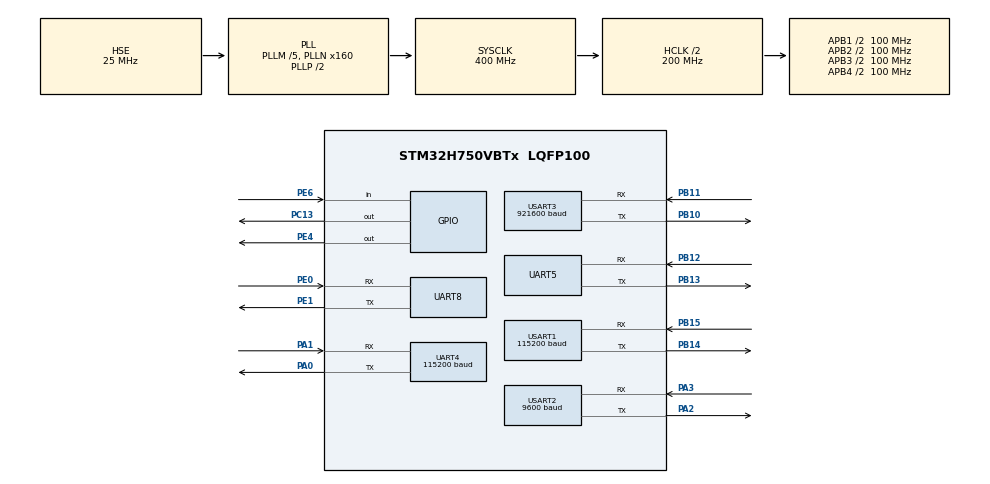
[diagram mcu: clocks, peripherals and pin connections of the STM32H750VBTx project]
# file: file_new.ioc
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Dma.USART2_TX.7.MemInc=DMA_MINC_ENABLE
Dma.UART5_TX.10.FIFOMode=DMA_FIFOMODE_DISABLE
Dma.USART1_TX.1.Polarity=HAL_DMAMUX_REQ_GEN_RISING
Dma.USART2_TX.7.Priority=DMA_PRIORITY_LOW
VP_SYS_VS_tim6.Mode=TIM6
Dma.UART5_TX.10.Priority=DMA_PRIORITY_LOW
Dma.UART5_TX.10.Direction=DMA_MEMORY_TO_PERIPH
Dma.UART5_TX.10.SignalID=NONE
Dma.USART2_TX.7.FIFOMode=DMA_FIFOMODE_DISABLE
PB10.Mode=Asynchronous
NVIC.TIM6_DAC_IRQn=true\:0\:0\:false\:false\:true\:false\:false\:true
Dma.USART2_RX.2.SignalID=NONE
NVIC.DMA1_Stream2_IRQn=true\:5\:0\:false\:false\:true\:true\:false\:true
RCC.PLLFRACN=0
Dma.USART2_TX.7.SignalID=NONE
Dma.USART2_TX.7.EventEnable=DISABLE
PB13.Signal=UART5_TX
Dma.UART5_RX.9.Instance=DMA1_Stream4
RCC.SYSCLKSource=RCC_SYSCLKSOURCE_PLLCLK
Dma.UART4_RX.3.SyncPolarity=HAL_DMAMUX_SYNC_NO_EVENT
USART3.VirtualMode-Asynchronous=VM_ASYNC
Dma.USART3_RX.8.Direction=DMA_PERIPH_TO_MEMORY
FREERTOS.configENABLE_FPU=1
PA14\ (JTCK/SWCLK).Signal=DEBUG_JTCK-SWCLK
USART3.BaudRate=921600
Dma.UART8_RX.5.EventEnable=DISABLE
PC13.GPIO_ModeDefaultOutputPP=GPIO_MODE_OUTPUT_PP
Dma.USART2_RX.2.Priority=DMA_PRIORITY_LOW
Dma.UART8_RX.5.PeriphInc=DMA_PINC_DISABLE
PE1.Signal=UART8_TX
Dma.USART3_RX.8.RequestNumber=1
RCC.DIVM3=25
RCC.DIVM1=5
Dma.UART5_RX.9.SignalID=NONE
Dma.UART8_TX.6.Mode=DMA_NORMAL
Dma.USART2_RX.2.EventEnable=DISABLE
PB14.Mode=Asynchronous
Dma.UART5_RX.9.MemDataAlignment=DMA_MDATAALIGN_BYTE
PA0.Mode=Asynchronous
Dma.USART1_RX.0.SyncEnable=DISABLE
Dma.USART3_RX.8.Mode=DMA_NORMAL
PA8.Signal=S_TIM1_CH1
PA14\ (JTCK/SWCLK).Mode=Serial_Wire
Dma.UART8_RX.5.SyncPolarity=HAL_DMAMUX_SYNC_NO_EVENT
Dma.UART5_RX.9.RequestNumber=1
VP_FREERTOS_VS_CMSIS_V1.Mode=CMSIS_V1
Dma.UART5_RX.9.FIFOMode=DMA_FIFOMODE_DISABLE
PA0.Signal=UART4_TX
Dma.UART4_TX.4.SyncEnable=DISABLE
Dma.UART5_TX.10.PeriphInc=DMA_PINC_DISABLE
Mcu.Package=LQFP100
Dma.UART5_RX.9.Priority=DMA_PRIORITY_LOW
NVIC.TimeBase=TIM6_DAC_IRQn
RCC.PLL3FRACN=0
Dma.UART4_TX.4.PeriphDataAlignment=DMA_PDATAALIGN_BYTE
Dma.UART5_TX.10.MemInc=DMA_MINC_ENABLE
NVIC.TimeBaseIP=TIM6
Dma.USART2_RX.2.Direction=DMA_PERIPH_TO_MEMORY
Dma.UART4_TX.4.Polarity=HAL_DMAMUX_REQ_GEN_RISING
Dma.USART2_TX.7.PeriphDataAlignment=DMA_PDATAALIGN_BYTE
PC14-OSC32_IN\ (OSC32_IN).Mode=LSE-External-Oscillator
NVIC.DMA2_Stream2_IRQn=true\:5\:0\:false\:false\:true\:true\:false\:true
RCC.APB4Freq_Value=100000000
Dma.UART4_TX.4.Direction=DMA_MEMORY_TO_PERIPH
Dma.UART5_TX.10.Instance=DMA2_Stream2
Dma.USART2_TX.7.SyncSignalID=NONE
Dma.UART8_TX.6.PeriphDataAlignment=DMA_PDATAALIGN_BYTE
PB13.Mode=Asynchronous
NVIC.USART1_IRQn=true\:5\:0\:false\:false\:true\:true\:true\:true
NVIC.DMA1_Stream6_IRQn=true\:5\:0\:false\:false\:true\:true\:false\:true
Dma.UART4_TX.4.MemInc=DMA_MINC_ENABLE
PH0-OSC_IN\ (PH0).Mode=HSE-External-Oscillator
PA8.GPIO_Speed=GPIO_SPEED_FREQ_HIGH
Dma.USART2_TX.7.Instance=DMA2_Stream1
Dma.UART4_RX.3.MemInc=DMA_MINC_ENABLE
NVIC.UART4_IRQn=true\:5\:0\:false\:false\:true\:true\:true\:true
Dma.USART3_RX.8.SyncEnable=DISABLE
Dma.UART8_RX.5.PeriphDataAlignment=DMA_PDATAALIGN_BYTE
NVIC.UART8_IRQn=true\:5\:0\:false\:false\:true\:true\:true\:true
FREERTOS.Tasks01=CtrlTask,0,128,CtrlTaskF,Default,NULL,Dynamic,NULL,NULL;SensorTask,0,128,SensorTaskF,Default,NULL,Dynamic,NULL,NULL;UptoBaseTask,0,128,UtBF,Default,NULL,Dynamic,NULL,NULL;BasetoUpTask,0,128,BtUF,Default,NULL,Dynamic,NULL,NULL
Dma.USART3_RX.8.EventEnable=DISABLE
Dma.Request9=UART5_RX
Dma.UART8_RX.5.SyncRequestNumber=1
Dma.UART4_RX.3.PeriphInc=DMA_PINC_DISABLE
PC13.Signal=GPIO_Output
Dma.Request10=UART5_TX
PE1.Mode=Asynchronous
Dma.UART5_RX.9.PeriphDataAlignment=DMA_PDATAALIGN_BYTE
NVIC.DMA2_Stream1_IRQn=true\:5\:0\:false\:false\:true\:true\:false\:true
Dma.UART4_TX.4.FIFOMode=DMA_FIFOMODE_DISABLE
USART2.BaudRate=9600
Dma.USART2_RX.2.Mode=DMA_NORMAL
Dma.USART1_TX.1.SyncSignalID=NONE
Dma.UART8_RX.5.FIFOMode=DMA_FIFOMODE_DISABLE
PA3.Mode=Asynchronous
Dma.UART5_RX.9.Mode=DMA_NORMAL
Dma.UART8_TX.6.SyncSignalID=NONE
PB11.Mode=Asynchronous
Dma.USART1_RX.0.SyncRequestNumber=1
Dma.USART1_RX.0.Direction=DMA_PERIPH_TO_MEMORY
Dma.UART4_TX.4.Instance=DMA1_Stream6
Dma.UART8_TX.6.MemInc=DMA_MINC_ENABLE
RCC.DIVN3=192
RCC.DIVN1=160
Dma.UART4_RX.3.Polarity=HAL_DMAMUX_REQ_GEN_RISING
Dma.UART8_TX.6.SyncEnable=DISABLE
Dma.USART1_TX.1.SyncEnable=DISABLE
Dma.USART1_RX.0.PeriphInc=DMA_PINC_DISABLE
PB10.Signal=USART3_TX
PB14.Signal=USART1_TX
Dma.USART1_TX.1.MemDataAlignment=DMA_MDATAALIGN_BYTE
Dma.USART3_RX.8.PeriphInc=DMA_PINC_DISABLE
Dma.UART8_RX.5.MemDataAlignment=DMA_MDATAALIGN_BYTE
Dma.UART4_TX.4.MemDataAlignment=DMA_MDATAALIGN_BYTE
PA1.Mode=Asynchronous
Dma.UART5_TX.10.EventEnable=DISABLE
Dma.UART4_RX.3.Instance=DMA1_Stream5
Dma.UART5_TX.10.Polarity=HAL_DMAMUX_REQ_GEN_RISING
Dma.USART2_TX.7.Direction=DMA_MEMORY_TO_PERIPH
Dma.USART1_RX.0.SyncPolarity=HAL_DMAMUX_SYNC_NO_EVENT
Dma.USART1_RX.0.SyncSignalID=NONE
Dma.UART4_TX.4.SyncRequestNumber=1
Dma.USART1_TX.1.Mode=DMA_NORMAL
Dma.USART3_RX.8.PeriphDataAlignment=DMA_PDATAALIGN_BYTE
Dma.UART5_RX.9.Polarity=HAL_DMAMUX_REQ_GEN_RISING
ProjectManager.HeapSize=0x200
FREERTOS.Mutexes01=UptoBaseDataRWFlag,Dynamic,NULL;BasetoUpDataRWFlag,Dynamic,NULL;WT931SensorDataRWFlag,Dynamic,NULL;GY39SensorDataRWFlag,Dynamic,NULL;DeepSensorDataRWFlag,Dynamic,NULL;BaseControlEnableFlag,Dynamic,NULL;P30SensorDataRWFlag,Dynamic,NULL
Dma.USART2_TX.7.MemDataAlignment=DMA_MDATAALIGN_BYTE
NVIC.PriorityGroup=NVIC_PRIORITYGROUP_4
RCC.USART234578CLockSelection=RCC_USART234578CLKSOURCE_PLL3
Dma.USART2_RX.2.SyncEnable=DISABLE
Dma.UART8_TX.6.Direction=DMA_MEMORY_TO_PERIPH
Dma.UART8_TX.6.SyncPolarity=HAL_DMAMUX_SYNC_NO_EVENT
PA13\ (JTMS/SWDIO).Signal=DEBUG_JTMS-SWDIO
Dma.UART4_TX.4.RequestNumber=1
Dma.USART2_RX.2.RequestNumber=1
Mcu.Family=STM32H7
NVIC.USART3_IRQn=true\:5\:0\:false\:false\:true\:true\:true\:true
Dma.UART4_RX.3.Priority=DMA_PRIORITY_LOW
Dma.UART4_RX.3.FIFOMode=DMA_FIFOMODE_DISABLE
Dma.USART2_RX.2.PeriphDataAlignment=DMA_PDATAALIGN_BYTE
Dma.USART3_RX.8.MemDataAlignment=DMA_MDATAALIGN_BYTE
Dma.UART4_RX.3.SyncEnable=DISABLE
RCC.CortexFreq_Value=400000000
FREERTOS.BinarySemaphores01=UptoBaseTransFinish,Dynamic,NULL;WT931TransFinish,Dynamic,NULL;GY39TransFinish,Dynamic,NULL;BasetoUpTransFinishHandle,Dynamic,NULL;DeepTransFinishHandle,Dynamic,NULL;P30TransFinish,Dynamic,NULL
Dma.UART8_TX.6.Priority=DMA_PRIORITY_LOW
Dma.UART4_RX.3.SignalID=NONE
Dma.USART1_TX.1.MemInc=DMA_MINC_ENABLE
Dma.USART1_TX.1.SyncPolarity=HAL_DMAMUX_SYNC_NO_EVENT
RCC.HPRE=RCC_HCLK_DIV2
Dma.USART1_RX.0.EventEnable=DISABLE
PH0-OSC_IN\ (PH0).Signal=RCC_OSC_IN
Dma.USART2_RX.2.SyncSignalID=NONE
USART1.BaudRate=115200
PC15-OSC32_OUT\ (OSC32_OUT).Mode=LSE-External-Oscillator
Dma.USART1_RX.0.SignalID=NONE
Dma.UART8_TX.6.MemDataAlignment=DMA_MDATAALIGN_BYTE
Dma.UART4_RX.3.PeriphDataAlignment=DMA_PDATAALIGN_BYTE
Dma.UART4_RX.3.Mode=DMA_NORMAL
RCC.PLL2FRACN=0
PB11.Signal=USART3_RX
NVIC.DMA1_Stream4_IRQn=true\:5\:0\:false\:false\:true\:true\:false\:true
PB15.Signal=USART1_RX
Dma.UART8_TX.6.RequestNumber=1
ProjectManager.StackSize=0x400
NVIC.UART5_IRQn=true\:5\:0\:false\:false\:true\:true\:true\:true
Dma.USART3_RX.8.SyncRequestNumber=1
Dma.UART4_RX.3.Direction=DMA_PERIPH_TO_MEMORY
Dma.UART5_RX.9.Direction=DMA_PERIPH_TO_MEMORY
Dma.UART4_TX.4.Mode=DMA_NORMAL
Dma.UART4_TX.4.SyncPolarity=HAL_DMAMUX_SYNC_NO_EVENT
Dma.USART2_TX.7.PeriphInc=DMA_PINC_DISABLE
UART4.BaudRate=115200
Dma.UART8_RX.5.SyncSignalID=NONE
RCC.HCLKFreq_Value=200000000
Dma.UART4_TX.4.EventEnable=DISABLE
Dma.UART8_RX.5.Instance=DMA1_Stream7
Dma.USART2_RX.2.MemDataAlignment=DMA_MDATAALIGN_BYTE
NVIC.DMA2_Stream0_IRQn=true\:5\:0\:false\:false\:true\:true\:false\:true
Dma.UART5_TX.10.SyncRequestNumber=1
Dma.UART8_RX.5.MemInc=DMA_MINC_ENABLE
Dma.UART8_TX.6.SignalID=NONE
Dma.USART1_RX.0.Priority=DMA_PRIORITY_LOW
Dma.USART3_RX.8.Instance=DMA1_Stream3
Dma.UART5_RX.9.MemInc=DMA_MINC_ENABLE
PH1-OSC_OUT\ (PH1).Mode=HSE-External-Oscillator
Dma.USART2_TX.7.SyncEnable=DISABLE
USART2.VirtualMode-Asynchronous=VM_ASYNC
VP_IWDG1_VS_IWDG.Mode=IWDG_Activate
Dma.UART8_TX.6.Instance=DMA2_Stream0
PC13.GPIO_PuPd=GPIO_PULLUP
Dma.UART5_RX.9.PeriphInc=DMA_PINC_DISABLE
Dma.UART5_RX.9.SyncPolarity=HAL_DMAMUX_SYNC_NO_EVENT
Dma.UART8_RX.5.Polarity=HAL_DMAMUX_REQ_GEN_RISING
Dma.USART1_RX.0.MemInc=DMA_MINC_ENABLE
PE4.Signal=GPIO_Output
Dma.USART3_RX.8.SignalID=NONE
Dma.USART1_TX.1.PeriphDataAlignment=DMA_PDATAALIGN_BYTE
NVIC.DMA1_Stream7_IRQn=true\:5\:0\:false\:false\:true\:true\:false\:true
Dma.UART5_TX.10.RequestNumber=1
RCC.APB3Freq_Value=100000000
Dma.USART1_TX.1.RequestNumber=1
Dma.UART5_TX.10.MemDataAlignment=DMA_MDATAALIGN_BYTE
Dma.UART5_TX.10.SyncPolarity=HAL_DMAMUX_SYNC_NO_EVENT
Dma.UART8_RX.5.RequestNumber=1
Dma.UART5_TX.10.SyncSignalID=NONE
PB12.Mode=Asynchronous
Dma.UART5_TX.10.SyncEnable=DISABLE
RCC.D1PPRE=RCC_APB3_DIV2
Dma.USART3_RX.8.MemInc=DMA_MINC_ENABLE
Dma.USART2_RX.2.Polarity=HAL_DMAMUX_REQ_GEN_RISING
Dma.UART8_TX.6.PeriphInc=DMA_PINC_DISABLE
Dma.USART1_TX.1.SignalID=NONE
Dma.USART1_RX.0.FIFOMode=DMA_FIFOMODE_DISABLE
Dma.Request2=USART2_RX
Dma.Request1=USART1_TX
Dma.Request4=UART4_TX
PC13.GPIO_Speed=GPIO_SPEED_FREQ_LOW
Dma.Request3=UART4_RX
Dma.Request6=UART8_TX
Dma.USART1_RX.0.Mode=DMA_NORMAL
Dma.Request5=UART8_RX
Dma.USART1_TX.1.Priority=DMA_PRIORITY_LOW
NVIC.DMA1_Stream0_IRQn=true\:5\:0\:false\:false\:true\:true\:false\:true
Dma.Request8=USART3_RX
Dma.Request7=USART2_TX
Dma.Request0=USART1_RX
Dma.USART1_RX.0.Instance=DMA1_Stream0
Dma.UART8_TX.6.FIFOMode=DMA_FIFOMODE_DISABLE
PC13.PinState=GPIO_PIN_RESET
Dma.USART3_RX.8.Priority=DMA_PRIORITY_LOW
Dma.USART3_RX.8.SyncPolarity=HAL_DMAMUX_SYNC_NO_EVENT
PA3.Signal=USART2_RX
Dma.USART1_TX.1.Direction=DMA_MEMORY_TO_PERIPH
RCC.PLLSourceVirtual=RCC_PLLSOURCE_HSE
Dma.USART1_TX.1.Instance=DMA1_Stream1
Dma.UART5_RX.9.EventEnable=DISABLE
Dma.UART5_RX.9.SyncSignalID=NONE
CORTEX_M7.CPU_ICache=Disabled
Dma.USART2_TX.7.SyncRequestNumber=1
Dma.USART1_RX.0.PeriphDataAlignment=DMA_PDATAALIGN_BYTE
PA13\ (JTMS/SWDIO).Mode=Serial_Wire
Dma.UART4_TX.4.SyncSignalID=NONE
RCC.D2PPRE2=RCC_APB2_DIV2
RCC.D2PPRE1=RCC_APB1_DIV2
Dma.UART4_TX.4.SignalID=NONE
NVIC.DMA1_Stream1_IRQn=true\:5\:0\:false\:false\:true\:true\:false\:true
Dma.UART4_RX.3.MemDataAlignment=DMA_MDATAALIGN_BYTE
Dma.USART1_RX.0.RequestNumber=1
Dma.USART1_RX.0.Polarity=HAL_DMAMUX_REQ_GEN_RISING
NVIC.USART2_IRQn=true\:5\:0\:false\:false\:true\:true\:true\:true
PH1-OSC_OUT\ (PH1).Signal=RCC_OSC_OUT
Dma.USART2_RX.2.SyncPolarity=HAL_DMAMUX_SYNC_NO_EVENT
USART1.VirtualMode-Asynchronous=VM_ASYNC
Dma.UART5_TX.10.PeriphDataAlignment=DMA_PDATAALIGN_BYTE
Dma.UART8_RX.5.Direction=DMA_PERIPH_TO_MEMORY
SH.S_TIM1_CH1.0=TIM1_CH1
Dma.USART2_RX.2.MemInc=DMA_MINC_ENABLE
Dma.USART3_RX.8.FIFOMode=DMA_FIFOMODE_DISABLE
ProjectManager.TargetToolchain=STM32CubeIDE
PC15-OSC32_OUT\ (OSC32_OUT).Signal=RCC_OSC32_OUT
NVIC.DMA1_Stream5_IRQn=true\:5\:0\:false\:false\:true\:true\:false\:true
Dma.USART1_TX.1.FIFOMode=DMA_FIFOMODE_DISABLE
RCC.USBFreq_Value=400000000
Dma.UART5_RX.9.SyncRequestNumber=1
Dma.USART2_TX.7.Mode=DMA_NORMAL
PA1.Signal=UART4_RX
Dma.USART2_TX.7.SyncPolarity=HAL_DMAMUX_SYNC_NO_EVENT
Dma.USART3_RX.8.SyncSignalID=NONE
board=custom
Dma.UART4_RX.3.RequestNumber=1
Dma.UART5_RX.9.SyncEnable=DISABLE
PB15.Mode=Asynchronous
Dma.USART2_RX.2.PeriphInc=DMA_PINC_DISABLE
RCC.APB2Freq_Value=100000000
Dma.UART4_RX.3.EventEnable=DISABLE
Dma.USART2_TX.7.RequestNumber=1
Dma.UART8_TX.6.Polarity=HAL_DMAMUX_REQ_GEN_RISING
RCC.ADCFreq_Value=50390625
Dma.USART1_RX.0.MemDataAlignment=DMA_MDATAALIGN_BYTE
Dma.USART1_TX.1.SyncRequestNumber=1
PE6.Signal=GPIO_Input
PE0.Signal=UART8_RX
Mcu.Name=STM32H750VBTx
Dma.USART2_RX.2.SyncRequestNumber=1
PA2.Signal=USART2_TX
Dma.USART2_TX.7.Polarity=HAL_DMAMUX_REQ_GEN_RISING
Dma.USART3_RX.8.Polarity=HAL_DMAMUX_REQ_GEN_RISING
RCC.SYSCLKFreq_VALUE=400000000
Dma.UART8_RX.5.SyncEnable=DISABLE
Dma.UART8_TX.6.EventEnable=DISABLE
Dma.UART8_RX.5.Priority=DMA_PRIORITY_LOW
PC14-OSC32_IN\ (OSC32_IN).Signal=RCC_OSC32_IN
Dma.USART2_RX.2.Instance=DMA1_Stream2
Dma.UART4_RX.3.SyncRequestNumber=1
Dma.UART4_TX.4.Priority=DMA_PRIORITY_LOW
Dma.USART1_TX.1.PeriphInc=DMA_PINC_DISABLE
Dma.UART8_TX.6.SyncRequestNumber=1
Dma.UART5_TX.10.Mode=DMA_NORMAL
Dma.UART8_RX.5.SignalID=NONE
Dma.USART1_TX.1.EventEnable=DISABLE
PA2.Mode=Asynchronous
NVIC.DMA1_Stream3_IRQn=true\:5\:0\:false\:false\:true\:true\:false\:true
RCC.D3PPRE=RCC_APB4_DIV2
Dma.USART2_RX.2.FIFOMode=DMA_FIFOMODE_DISABLE
RCC.APB1Freq_Value=100000000
Dma.UART8_RX.5.Mode=DMA_NORMAL
Dma.UART4_RX.3.SyncSignalID=NONE
RCC.USART16CLockSelection=RCC_USART16CLKSOURCE_PLL3
PE0.Mode=Asynchronous
PB12.Signal=UART5_RX
Dma.UART4_TX.4.PeriphInc=DMA_PINC_DISABLE

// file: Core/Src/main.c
/* USER CODE BEGIN Header */
/**
 ******************************************************************************
 * @file           : main.c
 * @brief          : Main program body
 ******************************************************************************
 * @attention
 *
 * <h2><center>&copy; Copyright (c) 2021 STMicroelectronics.
 * All rights reserved.</center></h2>
 *
 * This software component is licensed by ST under Ultimate Liberty license
 * SLA0044, the "License"; You may not use this file except in compliance with
 * the License. You may obtain a copy of the License at:
 *                             www.st.com/SLA0044
 *
 ******************************************************************************
 */
/* USER CODE END Header */
#include "main.h"
#include "cmsis_os.h"

/* USER CODE BEGIN Includes */
#include "Sensor.h"
#include "BasicCtrl.h"
/* USER CODE END Includes */

IWDG_HandleTypeDef hiwdg1;

UART_HandleTypeDef huart4;
UART_HandleTypeDef huart5;
UART_HandleTypeDef huart8;
UART_HandleTypeDef huart1;
UART_HandleTypeDef huart2;
UART_HandleTypeDef huart3;
DMA_HandleTypeDef hdma_uart4_rx;
DMA_HandleTypeDef hdma_uart4_tx;
DMA_HandleTypeDef hdma_uart5_rx;
DMA_HandleTypeDef hdma_uart5_tx;
DMA_HandleTypeDef hdma_uart8_rx;
DMA_HandleTypeDef hdma_uart8_tx;
DMA_HandleTypeDef hdma_usart1_rx;
DMA_HandleTypeDef hdma_usart1_tx;
DMA_HandleTypeDef hdma_usart2_rx;
DMA_HandleTypeDef hdma_usart2_tx;
DMA_HandleTypeDef hdma_usart3_rx;

osThreadId CtrlTaskHandle;
osThreadId SensorTaskHandle;
osThreadId UptoBaseTaskHandle;
osThreadId BasetoUpTaskHandle;
osMutexId UptoBaseDataRWFlagHandle;
osMutexId BasetoUpDataRWFlagHandle;
osMutexId WT931SensorDataRWFlagHandle;
osMutexId GY39SensorDataRWFlagHandle;
osMutexId DeepSensorDataRWFlagHandle;
osMutexId BaseControlEnableFlagHandle;
osMutexId P30SensorDataRWFlagHandle;
osSemaphoreId UptoBaseTransFinishHandle;
osSemaphoreId WT931TransFinishHandle;
osSemaphoreId GY39TransFinishHandle;
osSemaphoreId BasetoUpTransFinishHandleHandle;
osSemaphoreId DeepTransFinishHandleHandle;
osSemaphoreId P30TransFinishHandle;
/* USER CODE BEGIN PV */
//DownDataDef UptoBaseData;
//UpDataDef BasetoUpData;
//UpDataDef Power_BasetoUpData;
DeepData DeepSensorData;
WT931Data WT931SensorData;
GY39Data GY39SensorData;
P30Data P30SensorData;
/* USER CODE END PV */

void SystemClock_Config(void);
void PeriphCommonClock_Config(void);
static void MX_GPIO_Init(void);
static void MX_DMA_Init(void);
static void MX_IWDG1_Init(void);
static void MX_USART1_UART_Init(void);
static void MX_USART2_UART_Init(void);
static void MX_USART3_UART_Init(void);
static void MX_UART4_Init(void);
static void MX_UART8_Init(void);
static void MX_UART5_Init(void);
void CtrlTaskF(void const *argument);
void SensorTaskF(void const *argument);
void UtBF(void const *argument);
void BtUF(void const *argument);

/* USER CODE BEGIN PFP */
void OpenWrt_Delay(void);
/* USER CODE END PFP */

int main(void)
{

	/* MCU Configuration--------------------------------------------------------*/

	/* Reset of all peripherals, Initializes the Flash interface and the Systick. */
	HAL_Init();

	/* Configure the system clock */
	SystemClock_Config();

	/* Configure the peripherals common clocks */
	PeriphCommonClock_Config();

	/* Initialize all configured peripherals */
	MX_GPIO_Init();
	MX_DMA_Init();
	MX_IWDG1_Init();
	MX_USART1_UART_Init();
	MX_USART2_UART_Init();
	MX_USART3_UART_Init();
	MX_UART4_Init();
	MX_UART8_Init();
	MX_UART5_Init();
	/* USER CODE BEGIN 2 */
	HAL_IWDG_Refresh(&hiwdg1);

	//初始化下位机

	HAL_GPIO_WritePin(GPIOE, GPIO_PIN_4, GPIO_PIN_RESET);
	HAL_GPIO_WritePin(GPIOE, GPIO_PIN_4, GPIO_PIN_SET);
	HAL_GPIO_WritePin(GPIOE, GPIO_PIN_4, GPIO_PIN_RESET);

	HAL_GPIO_WritePin(GPIOC, GPIO_PIN_13, GPIO_PIN_SET);
	/* USER CODE END 2 */

	/* Create the mutex(es) */
	/* definition and creation of UptoBaseDataRWFlag */
	osMutexDef(UptoBaseDataRWFlag);
	UptoBaseDataRWFlagHandle = osMutexCreate(osMutex(UptoBaseDataRWFlag));

	/* definition and creation of BasetoUpDataRWFlag */
	osMutexDef(BasetoUpDataRWFlag);
	BasetoUpDataRWFlagHandle = osMutexCreate(osMutex(BasetoUpDataRWFlag));

	/* definition and creation of WT931SensorDataRWFlag */
	osMutexDef(WT931SensorDataRWFlag);
	WT931SensorDataRWFlagHandle = osMutexCreate(osMutex(WT931SensorDataRWFlag));

	/* definition and creation of GY39SensorDataRWFlag */
	osMutexDef(GY39SensorDataRWFlag);
	GY39SensorDataRWFlagHandle = osMutexCreate(osMutex(GY39SensorDataRWFlag));

	/* definition and creation of DeepSensorDataRWFlag */
	osMutexDef(DeepSensorDataRWFlag);
	DeepSensorDataRWFlagHandle = osMutexCreate(osMutex(DeepSensorDataRWFlag));

	/* definition and creation of BaseControlEnableFlag */
	osMutexDef(BaseControlEnableFlag);
	BaseControlEnableFlagHandle = osMutexCreate(osMutex(BaseControlEnableFlag));

	/* definition and creation of P30SensorDataRWFlag */
	osMutexDef(P30SensorDataRWFlag);
	P30SensorDataRWFlagHandle = osMutexCreate(osMutex(P30SensorDataRWFlag));

	/* USER CODE BEGIN RTOS_MUTEX */
	HAL_IWDG_Refresh(&hiwdg1);
	/* add mutexes, ... */
	/* USER CODE END RTOS_MUTEX */

	/* Create the semaphores(s) */
	/* definition and creation of UptoBaseTransFinish */
	osSemaphoreDef(UptoBaseTransFinish);
	UptoBaseTransFinishHandle = osSemaphoreCreate(
			osSemaphore(UptoBaseTransFinish), 1);

	/* definition and creation of WT931TransFinish */
	osSemaphoreDef(WT931TransFinish);
	WT931TransFinishHandle = osSemaphoreCreate(osSemaphore(WT931TransFinish),
			1);

	/* definition and creation of GY39TransFinish */
	osSemaphoreDef(GY39TransFinish);
	GY39TransFinishHandle = osSemaphoreCreate(osSemaphore(GY39TransFinish), 1);

	/* definition and creation of BasetoUpTransFinishHandle */
	osSemaphoreDef(BasetoUpTransFinishHandle);
	BasetoUpTransFinishHandleHandle = osSemaphoreCreate(
			osSemaphore(BasetoUpTransFinishHandle), 1);

	/* definition and creation of DeepTransFinishHandle */
	osSemaphoreDef(DeepTransFinishHandle);
	DeepTransFinishHandleHandle = osSemaphoreCreate(
			osSemaphore(DeepTransFinishHandle), 1);

	/* definition and creation of P30TransFinish */
	osSemaphoreDef(P30TransFinish);
	P30TransFinishHandle = osSemaphoreCreate(osSemaphore(P30TransFinish), 1);

	/* USER CODE BEGIN RTOS_SEMAPHORES */
	HAL_IWDG_Refresh(&hiwdg1);
	/* add semaphores, ... */
	/* USER CODE END RTOS_SEMAPHORES */

	/* Create the thread(s) */
	/* definition and creation of CtrlTask */
	osThreadDef(CtrlTask, CtrlTaskF, osPriorityNormal, 0, 128);
	CtrlTaskHandle = osThreadCreate(osThread(CtrlTask), NULL);

	/* definition and creation of SensorTask */
	osThreadDef(SensorTask, SensorTaskF, osPriorityNormal, 0, 128);
	SensorTaskHandle = osThreadCreate(osThread(SensorTask), NULL);

	/* definition and creation of UptoBaseTask */
	osThreadDef(UptoBaseTask, UtBF, osPriorityNormal, 0, 128);
	UptoBaseTaskHandle = osThreadCreate(osThread(UptoBaseTask), NULL);

	/* definition and creation of BasetoUpTask */
	osThreadDef(BasetoUpTask, BtUF, osPriorityNormal, 0, 128);
	BasetoUpTaskHandle = osThreadCreate(osThread(BasetoUpTask), NULL);

	/* USER CODE BEGIN RTOS_THREADS */
	HAL_IWDG_Refresh(&hiwdg1);
	/* add threads, ... */
	/* USER CODE END RTOS_THREADS */

	/* Start scheduler */
	osKernelStart();

	/* We should never get here as control is now taken by the scheduler */
	/* Infinite loop */
	while (1)
	{

	}
}

void SystemClock_Config(void)
{
	RCC_OscInitTypeDef RCC_OscInitStruct =
	{ 0 };
	RCC_ClkInitTypeDef RCC_ClkInitStruct =
	{ 0 };

	/** Supply configuration update enable
	 */
	HAL_PWREx_ConfigSupply(PWR_LDO_SUPPLY);
	/** Configure the main internal regulator output voltage
	 */
	__HAL_PWR_VOLTAGESCALING_CONFIG(PWR_REGULATOR_VOLTAGE_SCALE1);

	while (!__HAL_PWR_GET_FLAG(PWR_FLAG_VOSRDY))
	{
	}
	/** Macro to configure the PLL clock source
	 */
	__HAL_RCC_PLL_PLLSOURCE_CONFIG(RCC_PLLSOURCE_HSE);
	/** Initializes the RCC Oscillators according to the specified parameters
	 * in the RCC_OscInitTypeDef structure.
	 */
	RCC_OscInitStruct.OscillatorType = RCC_OSCILLATORTYPE_LSI
			| RCC_OSCILLATORTYPE_HSE;
	RCC_OscInitStruct.HSEState = RCC_HSE_ON;
	RCC_OscInitStruct.LSIState = RCC_LSI_ON;
	RCC_OscInitStruct.PLL.PLLState = RCC_PLL_ON;
	RCC_OscInitStruct.PLL.PLLSource = RCC_PLLSOURCE_HSE;
	RCC_OscInitStruct.PLL.PLLM = 5;
	RCC_OscInitStruct.PLL.PLLN = 160;
	RCC_OscInitStruct.PLL.PLLP = 2;
	RCC_OscInitStruct.PLL.PLLQ = 2;
	RCC_OscInitStruct.PLL.PLLR = 2;
	RCC_OscInitStruct.PLL.PLLRGE = RCC_PLL1VCIRANGE_2;
	RCC_OscInitStruct.PLL.PLLVCOSEL = RCC_PLL1VCOWIDE;
	RCC_OscInitStruct.PLL.PLLFRACN = 0;
	if (HAL_RCC_OscConfig(&RCC_OscInitStruct) != HAL_OK)
	{
		Error_Handler();
	}
	/** Initializes the CPU, AHB and APB buses clocks
	 */
	RCC_ClkInitStruct.ClockType = RCC_CLOCKTYPE_HCLK | RCC_CLOCKTYPE_SYSCLK
			| RCC_CLOCKTYPE_PCLK1 | RCC_CLOCKTYPE_PCLK2 | RCC_CLOCKTYPE_D3PCLK1
			| RCC_CLOCKTYPE_D1PCLK1;
	RCC_ClkInitStruct.SYSCLKSource = RCC_SYSCLKSOURCE_PLLCLK;
	RCC_ClkInitStruct.SYSCLKDivider = RCC_SYSCLK_DIV1;
	RCC_ClkInitStruct.AHBCLKDivider = RCC_HCLK_DIV2;
	RCC_ClkInitStruct.APB3CLKDivider = RCC_APB3_DIV2;
	RCC_ClkInitStruct.APB1CLKDivider = RCC_APB1_DIV2;
	RCC_ClkInitStruct.APB2CLKDivider = RCC_APB2_DIV2;
	RCC_ClkInitStruct.APB4CLKDivider = RCC_APB4_DIV2;

	if (HAL_RCC_ClockConfig(&RCC_ClkInitStruct, FLASH_LATENCY_2) != HAL_OK)
	{
		Error_Handler();
	}
}

void PeriphCommonClock_Config(void)
{
	RCC_PeriphCLKInitTypeDef PeriphClkInitStruct =
	{ 0 };

	/** Initializes the peripherals clock
	 */
	PeriphClkInitStruct.PeriphClockSelection = RCC_PERIPHCLK_UART5
			| RCC_PERIPHCLK_UART8 | RCC_PERIPHCLK_USART1 | RCC_PERIPHCLK_UART4
			| RCC_PERIPHCLK_USART2 | RCC_PERIPHCLK_USART3;
	PeriphClkInitStruct.PLL3.PLL3M = 25;
	PeriphClkInitStruct.PLL3.PLL3N = 192;
	PeriphClkInitStruct.PLL3.PLL3P = 2;
	PeriphClkInitStruct.PLL3.PLL3Q = 2;
	PeriphClkInitStruct.PLL3.PLL3R = 2;
	PeriphClkInitStruct.PLL3.PLL3RGE = RCC_PLL3VCIRANGE_0;
	PeriphClkInitStruct.PLL3.PLL3VCOSEL = RCC_PLL3VCOWIDE;
	PeriphClkInitStruct.PLL3.PLL3FRACN = 0;
	PeriphClkInitStruct.Usart234578ClockSelection =
	RCC_USART234578CLKSOURCE_PLL3;
	PeriphClkInitStruct.Usart16ClockSelection = RCC_USART16CLKSOURCE_PLL3;
	if (HAL_RCCEx_PeriphCLKConfig(&PeriphClkInitStruct) != HAL_OK)
	{
		Error_Handler();
	}
}

static void MX_IWDG1_Init(void)
{

	hiwdg1.Instance = IWDG1;
	hiwdg1.Init.Prescaler = IWDG_PRESCALER_4;
	hiwdg1.Init.Window = 4095;
	hiwdg1.Init.Reload = 4095;
	if (HAL_IWDG_Init(&hiwdg1) != HAL_OK)
	{
		Error_Handler();
	}

}

static void MX_UART4_Init(void)
{

	huart4.Instance = UART4;
	huart4.Init.BaudRate = 115200;
	huart4.Init.WordLength = UART_WORDLENGTH_8B;
	huart4.Init.StopBits = UART_STOPBITS_1;
	huart4.Init.Parity = UART_PARITY_NONE;
	huart4.Init.Mode = UART_MODE_TX_RX;
	huart4.Init.HwFlowCtl = UART_HWCONTROL_NONE;
	huart4.Init.OverSampling = UART_OVERSAMPLING_16;
	huart4.Init.OneBitSampling = UART_ONE_BIT_SAMPLE_DISABLE;
	huart4.Init.ClockPrescaler = UART_PRESCALER_DIV1;
	huart4.AdvancedInit.AdvFeatureInit = UART_ADVFEATURE_NO_INIT;
	if (HAL_UART_Init(&huart4) != HAL_OK)
	{
		Error_Handler();
	}
	if (HAL_UARTEx_SetTxFifoThreshold(&huart4, UART_TXFIFO_THRESHOLD_1_8)
			!= HAL_OK)
	{
		Error_Handler();
	}
	if (HAL_UARTEx_SetRxFifoThreshold(&huart4, UART_RXFIFO_THRESHOLD_1_8)
			!= HAL_OK)
	{
		Error_Handler();
	}
	if (HAL_UARTEx_DisableFifoMode(&huart4) != HAL_OK)
	{
		Error_Handler();
	}

}

static void MX_UART5_Init(void)
{

	huart5.Instance = UART5;
	huart5.Init.BaudRate = 115200;
	huart5.Init.WordLength = UART_WORDLENGTH_8B;
	huart5.Init.StopBits = UART_STOPBITS_1;
	huart5.Init.Parity = UART_PARITY_NONE;
	huart5.Init.Mode = UART_MODE_TX_RX;
	huart5.Init.HwFlowCtl = UART_HWCONTROL_NONE;
	huart5.Init.OverSampling = UART_OVERSAMPLING_16;
	huart5.Init.OneBitSampling = UART_ONE_BIT_SAMPLE_DISABLE;
	huart5.Init.ClockPrescaler = UART_PRESCALER_DIV1;
	huart5.AdvancedInit.AdvFeatureInit = UART_ADVFEATURE_NO_INIT;
	if (HAL_UART_Init(&huart5) != HAL_OK)
	{
		Error_Handler();
	}
	if (HAL_UARTEx_SetTxFifoThreshold(&huart5, UART_TXFIFO_THRESHOLD_1_8)
			!= HAL_OK)
	{
		Error_Handler();
	}
	if (HAL_UARTEx_SetRxFifoThreshold(&huart5, UART_RXFIFO_THRESHOLD_1_8)
			!= HAL_OK)
	{
		Error_Handler();
	}
	if (HAL_UARTEx_DisableFifoMode(&huart5) != HAL_OK)
	{
		Error_Handler();
	}

}

static void MX_UART8_Init(void)
{

	huart8.Instance = UART8;
	huart8.Init.BaudRate = 115200;
	huart8.Init.WordLength = UART_WORDLENGTH_8B;
	huart8.Init.StopBits = UART_STOPBITS_1;
	huart8.Init.Parity = UART_PARITY_NONE;
	huart8.Init.Mode = UART_MODE_TX_RX;
	huart8.Init.HwFlowCtl = UART_HWCONTROL_NONE;
	huart8.Init.OverSampling = UART_OVERSAMPLING_16;
	huart8.Init.OneBitSampling = UART_ONE_BIT_SAMPLE_DISABLE;
	huart8.Init.ClockPrescaler = UART_PRESCALER_DIV1;
	huart8.AdvancedInit.AdvFeatureInit = UART_ADVFEATURE_NO_INIT;
	if (HAL_UART_Init(&huart8) != HAL_OK)
	{
		Error_Handler();
	}
	if (HAL_UARTEx_SetTxFifoThreshold(&huart8, UART_TXFIFO_THRESHOLD_1_8)
			!= HAL_OK)
	{
		Error_Handler();
	}
	if (HAL_UARTEx_SetRxFifoThreshold(&huart8, UART_RXFIFO_THRESHOLD_1_8)
			!= HAL_OK)
	{
		Error_Handler();
	}
	if (HAL_UARTEx_DisableFifoMode(&huart8) != HAL_OK)
	{
		Error_Handler();
	}

}

static void MX_USART1_UART_Init(void)
{

	huart1.Instance = USART1;
	huart1.Init.BaudRate = 115200;
	huart1.Init.WordLength = UART_WORDLENGTH_8B;
	huart1.Init.StopBits = UART_STOPBITS_1;
	huart1.Init.Parity = UART_PARITY_NONE;
	huart1.Init.Mode = UART_MODE_TX_RX;
	huart1.Init.HwFlowCtl = UART_HWCONTROL_NONE;
	huart1.Init.OverSampling = UART_OVERSAMPLING_16;
	huart1.Init.OneBitSampling = UART_ONE_BIT_SAMPLE_DISABLE;
	huart1.Init.ClockPrescaler = UART_PRESCALER_DIV1;
	huart1.AdvancedInit.AdvFeatureInit = UART_ADVFEATURE_NO_INIT;
	if (HAL_UART_Init(&huart1) != HAL_OK)
	{
		Error_Handler();
	}
	if (HAL_UARTEx_SetTxFifoThreshold(&huart1, UART_TXFIFO_THRESHOLD_1_8)
			!= HAL_OK)
	{
		Error_Handler();
	}
	if (HAL_UARTEx_SetRxFifoThreshold(&huart1, UART_RXFIFO_THRESHOLD_1_8)
			!= HAL_OK)
	{
		Error_Handler();
	}
	if (HAL_UARTEx_DisableFifoMode(&huart1) != HAL_OK)
	{
		Error_Handler();
	}

}

static void MX_USART2_UART_Init(void)
{

	huart2.Instance = USART2;
	huart2.Init.BaudRate = 9600;
	huart2.Init.WordLength = UART_WORDLENGTH_8B;
	huart2.Init.StopBits = UART_STOPBITS_1;
	huart2.Init.Parity = UART_PARITY_NONE;
	huart2.Init.Mode = UART_MODE_TX_RX;
	huart2.Init.HwFlowCtl = UART_HWCONTROL_NONE;
	huart2.Init.OverSampling = UART_OVERSAMPLING_16;
	huart2.Init.OneBitSampling = UART_ONE_BIT_SAMPLE_DISABLE;
	huart2.Init.ClockPrescaler = UART_PRESCALER_DIV1;
	huart2.AdvancedInit.AdvFeatureInit = UART_ADVFEATURE_NO_INIT;
	if (HAL_UART_Init(&huart2) != HAL_OK)
	{
		Error_Handler();
	}
	if (HAL_UARTEx_SetTxFifoThreshold(&huart2, UART_TXFIFO_THRESHOLD_1_8)
			!= HAL_OK)
	{
		Error_Handler();
	}
	if (HAL_UARTEx_SetRxFifoThreshold(&huart2, UART_RXFIFO_THRESHOLD_1_8)
			!= HAL_OK)
	{
		Error_Handler();
	}
	if (HAL_UARTEx_DisableFifoMode(&huart2) != HAL_OK)
	{
		Error_Handler();
	}

}

static void MX_USART3_UART_Init(void)
{

	huart3.Instance = USART3;
	huart3.Init.BaudRate = 921600;
	huart3.Init.WordLength = UART_WORDLENGTH_8B;
	huart3.Init.StopBits = UART_STOPBITS_1;
	huart3.Init.Parity = UART_PARITY_NONE;
	huart3.Init.Mode = UART_MODE_TX_RX;
	huart3.Init.HwFlowCtl = UART_HWCONTROL_NONE;
	huart3.Init.OverSampling = UART_OVERSAMPLING_16;
	huart3.Init.OneBitSampling = UART_ONE_BIT_SAMPLE_DISABLE;
	huart3.Init.ClockPrescaler = UART_PRESCALER_DIV1;
	huart3.AdvancedInit.AdvFeatureInit = UART_ADVFEATURE_NO_INIT;
	if (HAL_UART_Init(&huart3) != HAL_OK)
	{
		Error_Handler();
	}
	if (HAL_UARTEx_SetTxFifoThreshold(&huart3, UART_TXFIFO_THRESHOLD_1_8)
			!= HAL_OK)
	{
		Error_Handler();
	}
	if (HAL_UARTEx_SetRxFifoThreshold(&huart3, UART_RXFIFO_THRESHOLD_1_8)
			!= HAL_OK)
	{
		Error_Handler();
	}
	if (HAL_UARTEx_DisableFifoMode(&huart3) != HAL_OK)
	{
		Error_Handler();
	}

}

static void MX_DMA_Init(void)
{

	/* DMA controller clock enable */
	__HAL_RCC_DMA1_CLK_ENABLE();
	__HAL_RCC_DMA2_CLK_ENABLE();

	/* DMA interrupt init */
	/* DMA1_Stream0_IRQn interrupt configuration */
	HAL_NVIC_SetPriority(DMA1_Stream0_IRQn, 5, 0);
	HAL_NVIC_EnableIRQ(DMA1_Stream0_IRQn);
	/* DMA1_Stream1_IRQn interrupt configuration */
	HAL_NVIC_SetPriority(DMA1_Stream1_IRQn, 5, 0);
	HAL_NVIC_EnableIRQ(DMA1_Stream1_IRQn);
	/* DMA1_Stream2_IRQn interrupt configuration */
	HAL_NVIC_SetPriority(DMA1_Stream2_IRQn, 5, 0);
	HAL_NVIC_EnableIRQ(DMA1_Stream2_IRQn);
	/* DMA1_Stream3_IRQn interrupt configuration */
	HAL_NVIC_SetPriority(DMA1_Stream3_IRQn, 5, 0);
	HAL_NVIC_EnableIRQ(DMA1_Stream3_IRQn);
	/* DMA1_Stream4_IRQn interrupt configuration */
	HAL_NVIC_SetPriority(DMA1_Stream4_IRQn, 5, 0);
	HAL_NVIC_EnableIRQ(DMA1_Stream4_IRQn);
	/* DMA1_Stream5_IRQn interrupt configuration */
	HAL_NVIC_SetPriority(DMA1_Stream5_IRQn, 5, 0);
	HAL_NVIC_EnableIRQ(DMA1_Stream5_IRQn);
	/* DMA1_Stream6_IRQn interrupt configuration */
	HAL_NVIC_SetPriority(DMA1_Stream6_IRQn, 5, 0);
	HAL_NVIC_EnableIRQ(DMA1_Stream6_IRQn);
	/* DMA1_Stream7_IRQn interrupt configuration */
	HAL_NVIC_SetPriority(DMA1_Stream7_IRQn, 5, 0);
	HAL_NVIC_EnableIRQ(DMA1_Stream7_IRQn);
	/* DMA2_Stream0_IRQn interrupt configuration */
	HAL_NVIC_SetPriority(DMA2_Stream0_IRQn, 5, 0);
	HAL_NVIC_EnableIRQ(DMA2_Stream0_IRQn);
	/* DMA2_Stream1_IRQn interrupt configuration */
	HAL_NVIC_SetPriority(DMA2_Stream1_IRQn, 5, 0);
	HAL_NVIC_EnableIRQ(DMA2_Stream1_IRQn);
	/* DMA2_Stream2_IRQn interrupt configuration */
	HAL_NVIC_SetPriority(DMA2_Stream2_IRQn, 5, 0);
	HAL_NVIC_EnableIRQ(DMA2_Stream2_IRQn);

}

static void MX_GPIO_Init(void)
{
	GPIO_InitTypeDef GPIO_InitStruct =
	{ 0 };

	/* GPIO Ports Clock Enable */
	__HAL_RCC_GPIOE_CLK_ENABLE();
	__HAL_RCC_GPIOC_CLK_ENABLE();
	__HAL_RCC_GPIOH_CLK_ENABLE();
	__HAL_RCC_GPIOA_CLK_ENABLE();
	__HAL_RCC_GPIOB_CLK_ENABLE();

	/*Configure GPIO pin Output Level */
	HAL_GPIO_WritePin(GPIOE, GPIO_PIN_4, GPIO_PIN_RESET);

	/*Configure GPIO pin Output Level */
	HAL_GPIO_WritePin(GPIOC, GPIO_PIN_13, GPIO_PIN_RESET);

	/*Configure GPIO pin : PE4 */
	GPIO_InitStruct.Pin = GPIO_PIN_4;
	GPIO_InitStruct.Mode = GPIO_MODE_OUTPUT_PP;
	GPIO_InitStruct.Pull = GPIO_NOPULL;
	GPIO_InitStruct.Speed = GPIO_SPEED_FREQ_LOW;
	HAL_GPIO_Init(GPIOE, &GPIO_InitStruct);

	/*Configure GPIO pin : PE6 */
	GPIO_InitStruct.Pin = GPIO_PIN_6;
	GPIO_InitStruct.Mode = GPIO_MODE_INPUT;
	GPIO_InitStruct.Pull = GPIO_NOPULL;
	HAL_GPIO_Init(GPIOE, &GPIO_InitStruct);

	/*Configure GPIO pin : PC13 */
	GPIO_InitStruct.Pin = GPIO_PIN_13;
	GPIO_InitStruct.Mode = GPIO_MODE_OUTPUT_PP;
	GPIO_InitStruct.Pull = GPIO_PULLUP;
	GPIO_InitStruct.Speed = GPIO_SPEED_FREQ_LOW;
	HAL_GPIO_Init(GPIOC, &GPIO_InitStruct);

	/*Configure GPIO pin : PA8 */
	GPIO_InitStruct.Pin = GPIO_PIN_8;
	GPIO_InitStruct.Mode = GPIO_MODE_AF_PP;
	GPIO_InitStruct.Pull = GPIO_NOPULL;
	GPIO_InitStruct.Speed = GPIO_SPEED_FREQ_HIGH;
	GPIO_InitStruct.Alternate = GPIO_AF1_TIM1;
	HAL_GPIO_Init(GPIOA, &GPIO_InitStruct);

}

/* USER CODE BEGIN 4 */
/**
 * @brief  跳过OpenWrt�?机启动信�?(dmesg)
 */
void OpenWrt_Delay(void)
{
	for (int i = 0; i < 60; i++)
	{
		HAL_GPIO_TogglePin(GPIOC, GPIO_PIN_13);
		for (int j = 0; j < 1000; j++)
		{
			osDelay(1);
		}
	}
	HAL_GPIO_WritePin(GPIOC, GPIO_PIN_13, GPIO_PIN_SET);
}
/* USER CODE END 4 */

void CtrlTaskF(void const *argument)
{
	/* USER CODE BEGIN 5 */

	/* Infinite loop */
	for (;;)
	{
		/* 该任务作为空任务 */
		HAL_IWDG_Refresh(&hiwdg1);
		osDelay(1);
	}
	/* USER CODE END 5 */
}

void SensorTaskF(void const *argument)
{
	/* USER CODE BEGIN SensorTaskF */
	ReceiveDeep();
	ReceiveGY39();
	ReceiveWT931();
	ReceiveP30();
	osDelay(100);
	DeepSensorData = ReceiveDeep();
	WT931SensorData = ReceiveWT931();
	osDelay(100);
	xSemaphoreGive(DeepSensorDataRWFlagHandle);
	xSemaphoreGive(GY39SensorDataRWFlagHandle);
	xSemaphoreGive(WT931SensorDataRWFlagHandle);
	xSemaphoreGive(P30SensorDataRWFlagHandle);
	vTaskSuspend(SensorTaskHandle);
	InitP30();
	P30SensorData = ReceiveP30();
	osDelay(1);
	InitGY39();
	GY39SensorData = ReceiveGY39();
	osDelay(1);
	/* Infinite loop */
	for (;;)
	{
		//收取深度数据
		if (xSemaphoreTake(DeepTransFinishHandleHandle,
				0) == pdTRUE)
		{
			if (xSemaphoreTake(DeepSensorDataRWFlagHandle,
					portTICK_PERIOD_MS) == pdTRUE)
			{
				DeepSensorData = ReceiveDeep();
				xSemaphoreGive(DeepSensorDataRWFlagHandle);
			}
		}
		//收取九轴数据
		if (xSemaphoreTake(WT931TransFinishHandle,
				0) == pdTRUE)
		{

			if (xSemaphoreTake(WT931SensorDataRWFlagHandle,
					portTICK_PERIOD_MS) == pdTRUE)
			{
				WT931SensorData = ReceiveWT931();
				xSemaphoreGive(WT931SensorDataRWFlagHandle);
			}
		}
		//收取温湿度数�???????
		if (xSemaphoreTake(GY39TransFinishHandle,
				0) == pdTRUE)
		{
			if (xSemaphoreTake(GY39SensorDataRWFlagHandle,
					portTICK_PERIOD_MS) == pdTRUE)
			{
				GY39SensorData = ReceiveGY39();
				xSemaphoreGive(GY39SensorDataRWFlagHandle);
			}
		}
		//收取声呐数据
		if (xSemaphoreTake(P30TransFinishHandle,0) == pdTRUE)
		{
			if (xSemaphoreTake(P30SensorDataRWFlagHandle,
					portTICK_PERIOD_MS) == pdTRUE)
			{
				P30SensorData = ReceiveP30();
				xSemaphoreGive(P30SensorDataRWFlagHandle);
			}
		}
		HAL_IWDG_Refresh(&hiwdg1);
	}
	/* USER CODE END SensorTaskF */
}

void UtBF(void const *argument)
{
	/* USER CODE BEGIN UtBF */
	DownDataDef UptoBaseData =
	{ 0 };
	u8 Relay_filter = 0;
	u8 Relay_temp = 0;

	OpenWrt_Delay(); //跳过openwrt�??机时�??

	xSemaphoreGive(BasetoUpDataRWFlagHandle);

	CaptureDownData();
	osDelay(100);
	//打开串口接收
	UptoBaseData = CaptureDownData();

//	xSemaphoreGive(UptoBaseDataRWFlagHandle);
	vTaskResume(BasetoUpTaskHandle);
	vTaskResume(SensorTaskHandle);
	osDelay(1);
	/* Infinite loop */
	for (;;)
	{
		//收取上位机指�??????
		if (xSemaphoreTake(UptoBaseTransFinishHandle,
				0) == pdTRUE)
		{
			if (xSemaphoreTake(UptoBaseDataRWFlagHandle,
					portTICK_PERIOD_MS) == pdTRUE)
			{
				UptoBaseData = CaptureDownData();
				//当且仅当收到上位机指令时下传指令
				if (xSemaphoreTake(BasetoUpDataRWFlagHandle,
						portTICK_PERIOD_MS) == pdTRUE)
				{
					if (UptoBaseData.Relay == Relay_temp) //继电器保持原来的值
					{
						Relay_filter++; //累计变化
						if (Relay_filter >= 2)
						{
							Relay_filter = 2;
						}
					}
					else //继电器变化
					{
						Relay_filter = 0;
						Relay_temp = UptoBaseData.Relay; //暂存新值
					}

					if (Relay_filter >= 2) //滤波
					{
						SendDownData(UptoBaseData);
						HAL_GPIO_TogglePin(GPIOC, GPIO_PIN_13);
					}

					xSemaphoreGive(BasetoUpDataRWFlagHandle);
				}
				xSemaphoreGive(UptoBaseDataRWFlagHandle);
			}
		}

		HAL_IWDG_Refresh(&hiwdg1);
	}
	/* USER CODE END UtBF */
}

void BtUF(void const *argument)
{
	/* USER CODE BEGIN BtUF */
	//置为1的时候表示推进器控制�????????????
	//置为0的时候表示主控仓
	u8 SensorCarbin = 0;
	UpDataDef Power_BasetoUpData =
	{ 0 };
	UpDataDef BasetoUpData =
	{ 0 };

	vTaskSuspend(BasetoUpTaskHandle);
	CaptureUpData();
	osDelay(100);
	Power_BasetoUpData = CaptureUpData();
	osDelay(50);
	/* Infinite loop */
	for (;;)
	{
		//单独接收下位仓回传的数据
		if (xSemaphoreTake(BasetoUpTransFinishHandleHandle,
				portTICK_PERIOD_MS) == pdTRUE) //原来�?0
		{
			Power_BasetoUpData = CaptureUpData();
		}
		//漏水�???????�???????
		BasetoUpData.WaterDetect = HAL_GPIO_ReadPin(GPIOE,
		GPIO_PIN_6) << 1;
		//九轴数据
		if (xSemaphoreTake(WT931SensorDataRWFlagHandle,
				portTICK_PERIOD_MS) == pdTRUE)
		{
			BasetoUpData.AccNum[0] = WT931SensorData.AccNum[0];
			BasetoUpData.AccNum[1] = WT931SensorData.AccNum[1];
			BasetoUpData.AccNum[2] = WT931SensorData.AccNum[2];
			BasetoUpData.RotNum[0] = WT931SensorData.RotNum[0];
			BasetoUpData.RotNum[1] = WT931SensorData.RotNum[1];
			BasetoUpData.RotNum[2] = WT931SensorData.RotNum[2];
			BasetoUpData.EulNum[0] = WT931SensorData.EulNum[0];
			BasetoUpData.EulNum[1] = WT931SensorData.EulNum[1];
			BasetoUpData.EulNum[2] = WT931SensorData.EulNum[2];
			BasetoUpData.MagNum[0] = WT931SensorData.MagNum[0];
			BasetoUpData.MagNum[1] = WT931SensorData.MagNum[1];
			BasetoUpData.MagNum[2] = WT931SensorData.MagNum[2];
			xSemaphoreGive(WT931SensorDataRWFlagHandle);
		}
		//温湿度大气压数据
		if (xSemaphoreTake(GY39SensorDataRWFlagHandle,
				portTICK_PERIOD_MS) == pdTRUE)
		{
			BasetoUpData.CabinBaro = GY39SensorData.Baro;
			BasetoUpData.CabinHum = GY39SensorData.Hum;
			BasetoUpData.CabinTemperature = GY39SensorData.Temperature;
			xSemaphoreGive(GY39SensorDataRWFlagHandle);
		}
		//水深水温数据
		if (xSemaphoreTake(DeepSensorDataRWFlagHandle,
				portTICK_PERIOD_MS) == pdTRUE)
		{
			BasetoUpData.WaterDepth = DeepSensorData.WaterDepth;
			BasetoUpData.WaterTemperature = DeepSensorData.WaterTemperature;
			xSemaphoreGive(DeepSensorDataRWFlagHandle);
		}
		//声呐数据
		if (xSemaphoreTake(P30SensorDataRWFlagHandle,
				portTICK_PERIOD_MS) == pdTRUE)
		{
			BasetoUpData.DepthToBottom = P30SensorData.DepthToBottom;
			BasetoUpData.Confidence = P30SensorData.Confidence;
			xSemaphoreGive(P30SensorDataRWFlagHandle);
		}

		if (SensorCarbin == 1)
		{
			if (Power_BasetoUpData.CabinNum == 0b0001)
			{
				if (xSemaphoreTake(UptoBaseDataRWFlagHandle,
						portTICK_PERIOD_MS) == pdTRUE)
				{
					SendUpData(Power_BasetoUpData);
					xSemaphoreGive(UptoBaseDataRWFlagHandle);
				}
			}
			SensorCarbin = 0;
		}
		else if (SensorCarbin == 0)	//发�?�主控仓数据
		{
			//上传数据
			if (xSemaphoreTake(UptoBaseDataRWFlagHandle,
					portTICK_PERIOD_MS) == pdTRUE)
			{
				BasetoUpData.CabinNum = 0;
				LocalSendUpData(BasetoUpData);
				xSemaphoreGive(UptoBaseDataRWFlagHandle);
			}
			SensorCarbin = 1;
		}
		HAL_IWDG_Refresh(&hiwdg1);
	}
	/* USER CODE END BtUF */
}

void HAL_TIM_PeriodElapsedCallback(TIM_HandleTypeDef *htim)
{
	if (htim->Instance == TIM6)
	{
		HAL_IncTick();
	}
}

void Error_Handler(void)
{
	__disable_irq();
	while (1)
	{
	}
}

/************************ (C) COPYRIGHT STMicroelectronics *****END OF FILE****/
